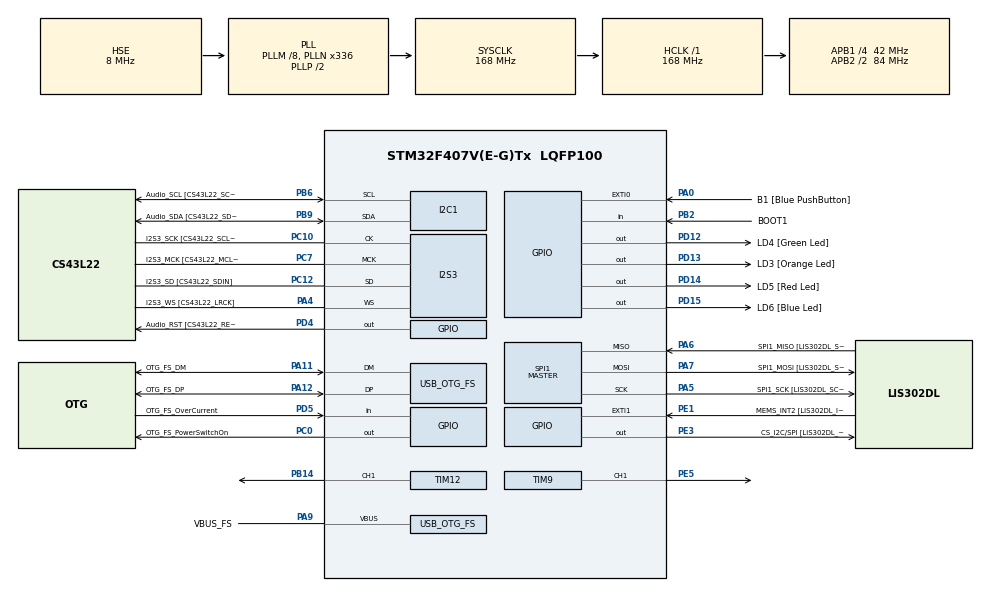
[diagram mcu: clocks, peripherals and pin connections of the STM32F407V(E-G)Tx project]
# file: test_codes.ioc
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I2S3.AudioFreq-Half_Duplex_Master=I2S_AUDIOFREQ_96K
I2S3.ErrorAudioFreq=-2.34 %
I2S3.ErrorAudioFreq-Half_Duplex_Master=0.8 %
I2S3.FullDuplexMode=I2S_FULLDUPLEXMODE_DISABLE
I2S3.Instance=SPI$Index
I2S3.RealAudioFreq=93.75 KHz
I2S3.RealAudioFreq-Half_Duplex_Master=96.774 KHz
I2S3.VirtualMode=I2S_MODE_MASTER
Mcu.Family=STM32F4
Mcu.Name=STM32F407V(E-G)Tx
Mcu.Package=LQFP100
NVIC.OTG_FS_IRQn=true\:0\:0\:false\:false\:true\:true\:true\:true
NVIC.PriorityGroup=NVIC_PRIORITYGROUP_0
PA0-WKUP.GPIO_Label=B1 [Blue PushButton]
PA0-WKUP.GPIO_ModeDefaultEXTI=GPIO_MODE_EVT_RISING
PA0-WKUP.GPIO_PuPd=GPIO_NOPULL
PA0-WKUP.Signal=GPXTI0
PA10.GPIO_Label=OTG_FS_ID
PA10.GPIO_Mode=GPIO_MODE_AF_PP
PA10.GPIO_PuPd=GPIO_NOPULL
PA10.GPIO_Speed=GPIO_SPEED_FREQ_LOW
PA10.Signal=USB_OTG_FS_ID
PA11.GPIO_Label=OTG_FS_DM
PA11.GPIO_Mode=GPIO_MODE_AF_PP
PA11.GPIO_PuPd=GPIO_NOPULL
PA11.GPIO_Speed=GPIO_SPEED_FREQ_LOW
PA11.Mode=Host_Only
PA11.Signal=USB_OTG_FS_DM
PA12.GPIO_Label=OTG_FS_DP
PA12.GPIO_Mode=GPIO_MODE_AF_PP
PA12.GPIO_PuPd=GPIO_NOPULL
PA12.GPIO_Speed=GPIO_SPEED_FREQ_LOW
PA12.Mode=Host_Only
PA12.Signal=USB_OTG_FS_DP
PA13.GPIO_Label=SWDIO
PA13.Mode=Serial_Wire
PA13.Signal=SYS_JTMS-SWDIO
PA14.GPIO_Label=SWCLK
PA14.Mode=Serial_Wire
PA14.Signal=SYS_JTCK-SWCLK
PA4.GPIO_Label=I2S3_WS [CS43L22_LRCK]
PA4.GPIO_Mode=GPIO_MODE_AF_PP
PA4.GPIO_PuPd=GPIO_NOPULL
PA4.GPIO_Speed=GPIO_SPEED_FREQ_LOW
PA4.Mode=Half_Duplex_Master
PA4.Signal=I2S3_WS
PA5.GPIO_Label=SPI1_SCK [LIS302DL_SCL/SPC]
PA5.GPIO_Mode=GPIO_MODE_AF_PP
PA5.GPIO_PuPd=GPIO_NOPULL
PA5.GPIO_Speed=GPIO_SPEED_FREQ_LOW
PA5.Mode=Full_Duplex_Master
PA5.Signal=SPI1_SCK
PA6.GPIO_Label=SPI1_MISO [LIS302DL_SDO]
PA6.GPIO_Mode=GPIO_MODE_AF_PP
PA6.GPIO_PuPd=GPIO_NOPULL
PA6.GPIO_Speed=GPIO_SPEED_FREQ_LOW
PA6.Mode=Full_Duplex_Master
PA6.Signal=SPI1_MISO
PA7.GPIO_Label=SPI1_MOSI [LIS302DL_SDA/SDI/SDO]
PA7.GPIO_Mode=GPIO_MODE_AF_PP
PA7.GPIO_PuPd=GPIO_NOPULL
PA7.GPIO_Speed=GPIO_SPEED_FREQ_LOW
PA7.Mode=Full_Duplex_Master
PA7.Signal=SPI1_MOSI
PA9.GPIO_Label=VBUS_FS
PA9.GPIO_Mode=GPIO_MODE_INPUT
PA9.GPIO_PuPd=GPIO_NOPULL
PA9.Mode=Activate_VBUS
PA9.Signal=USB_OTG_FS_VBUS
PB10.GPIO_Label=CLK_IN [MP45DT02_CLK]
PB10.GPIO_Mode=GPIO_MODE_AF_PP
PB10.GPIO_PuPd=GPIO_NOPULL
PB10.GPIO_Speed=GPIO_SPEED_FREQ_LOW
PB10.Signal=I2S2_CK
PB14.Signal=S_TIM12_CH1
PB2.GPIO_Label=BOOT1
PB2.GPIO_Mode=GPIO_MODE_INPUT
PB2.GPIO_PuPd=GPIO_NOPULL
PB2.Signal=GPIO_Input
PB3.GPIO_Label=SWO
PB3.Signal=SYS_JTDO-SWO
PB6.GPIO_Label=Audio_SCL [CS43L22_SCL]
PB6.GPIO_Mode=GPIO_MODE_AF_OD
PB6.GPIO_Pu=GPIO_PULLUP
PB6.GPIO_PuPd=GPIO_NOPULL
PB6.GPIO_Speed=GPIO_SPEED_FREQ_LOW
PB6.Mode=I2C
PB6.Signal=I2C1_SCL
PB9.GPIO_Label=Audio_SDA [CS43L22_SDA]
PB9.GPIO_Mode=GPIO_MODE_AF_OD
PB9.GPIO_Pu=GPIO_PULLUP
PB9.GPIO_PuPd=GPIO_NOPULL
PB9.GPIO_Speed=GPIO_SPEED_FREQ_LOW
PB9.Mode=I2C
PB9.Signal=I2C1_SDA
PC0.GPIO_Label=OTG_FS_PowerSwitchOn
PC0.GPIO_PuPd=GPIO_NOPULL
PC0.GPIO_Speed=GPIO_SPEED_FREQ_LOW
PC0.PinState=GPIO_PIN_SET
PC0.Signal=GPIO_Output
PC10.GPIO_Label=I2S3_SCK [CS43L22_SCLK]
PC10.GPIO_Mode=GPIO_MODE_AF_PP
PC10.GPIO_PuPd=GPIO_NOPULL
PC10.GPIO_Speed=GPIO_SPEED_FREQ_LOW
PC10.Mode=Half_Duplex_Master
PC10.Signal=I2S3_CK
PC12.GPIO_Label=I2S3_SD [CS43L22_SDIN]
PC12.GPIO_Mode=GPIO_MODE_AF_PP
PC12.GPIO_PuPd=GPIO_NOPULL
PC12.GPIO_Speed=GPIO_SPEED_FREQ_LOW
PC12.Mode=Half_Duplex_Master
PC12.Signal=I2S3_SD
PC14-OSC32_IN.GPIO_Label=PC14-OSC32_IN
PC14-OSC32_IN.Mode=LSE-External-Oscillator
PC14-OSC32_IN.Signal=RCC_OSC32_IN
PC15-OSC32_OUT.GPIO_Label=PC15-OSC32_OUT
PC15-OSC32_OUT.Mode=LSE-External-Oscillator
PC15-OSC32_OUT.Signal=RCC_OSC32_OUT
PC3.GPIO_Label=PDM_OUT [MP45DT02_DOUT]
PC3.GPIO_Mode=GPIO_MODE_AF_PP
PC3.GPIO_PuPd=GPIO_NOPULL
PC3.GPIO_Speed=GPIO_SPEED_FREQ_LOW
PC3.Signal=I2S2_SD
PC7.GPIO_Label=I2S3_MCK [CS43L22_MCLK]
PC7.GPIO_Mode=GPIO_MODE_AF_PP
PC7.GPIO_PuPd=GPIO_NOPULL
PC7.GPIO_Speed=GPIO_SPEED_FREQ_LOW
PC7.Mode=Master_Clock_Activated
PC7.Signal=I2S3_MCK
PD12.GPIO_Label=LD4 [Green Led]
PD12.GPIO_PuPd=GPIO_NOPULL
PD12.GPIO_Speed=GPIO_SPEED_FREQ_LOW
PD12.Signal=GPIO_Output
PD13.GPIO_Label=LD3 [Orange Led]
PD13.GPIO_PuPd=GPIO_NOPULL
PD13.GPIO_Speed=GPIO_SPEED_FREQ_LOW
PD13.Signal=GPIO_Output
PD14.GPIO_Label=LD5 [Red Led]
PD14.GPIO_PuPd=GPIO_NOPULL
PD14.GPIO_Speed=GPIO_SPEED_FREQ_LOW
PD14.Signal=GPIO_Output
PD15.GPIO_Label=LD6 [Blue Led]
PD15.GPIO_PuPd=GPIO_NOPULL
PD15.GPIO_Speed=GPIO_SPEED_FREQ_LOW
PD15.Signal=GPIO_Output
PD4.GPIO_Label=Audio_RST [CS43L22_RESET]
PD4.GPIO_PuPd=GPIO_NOPULL
PD4.GPIO_Speed=GPIO_SPEED_FREQ_LOW
PD4.Signal=GPIO_Output
PD5.GPIO_Label=OTG_FS_OverCurrent
PD5.GPIO_Mode=GPIO_MODE_INPUT
PD5.GPIO_PuPd=GPIO_NOPULL
PD5.Signal=GPIO_Input
PE1.GPIO_Label=MEMS_INT2 [LIS302DL_INT2]
PE1.GPIO_ModeDefaultEXTI=GPIO_MODE_EVT_RISING
PE1.GPIO_PuPd=GPIO_NOPULL
PE1.Signal=GPXTI1
PE3.GPIO_Label=CS_I2C/SPI [LIS302DL_CS_I2C/SPI]
PE3.GPIO_PuPd=GPIO_NOPULL
PE3.GPIO_Speed=GPIO_SPEED_FREQ_LOW
PE3.Signal=GPIO_Output
PE5.Signal=S_TIM9_CH1
PH0-OSC_IN.GPIO_Label=PH0-OSC_IN
PH0-OSC_IN.Mode=HSE-External-Oscillator
PH0-OSC_IN.Signal=RCC_OSC_IN
PH1-OSC_OUT.GPIO_Label=PH1-OSC_OUT
PH1-OSC_OUT.Mode=HSE-External-Oscillator
PH1-OSC_OUT.Signal=RCC_OSC_OUT
ProjectManager.HeapSize=0x200
ProjectManager.StackSize=0x400
ProjectManager.TargetToolchain=STM32CubeIDE
RCC.48MHZClocksFreq_Value=48000000
RCC.AHBFreq_Value=168000000
RCC.APB1CLKDivider=RCC_HCLK_DIV4
RCC.APB1Freq_Value=42000000
RCC.APB1TimFreq_Value=84000000
RCC.APB2CLKDivider=RCC_HCLK_DIV2
RCC.APB2Freq_Value=84000000
RCC.APB2TimFreq_Value=168000000
RCC.CortexFreq_Value=168000000
RCC.HCLKFreq_Value=168000000
RCC.HSE_VALUE=8000000
RCC.HSI_VALUE=16000000
RCC.PLLM=8
RCC.PLLN=336
RCC.PLLQ=7
RCC.SYSCLKFreq_VALUE=168000000
RCC.SYSCLKSource=RCC_SYSCLKSOURCE_PLLCLK
RCC.VCOOutputFreq_Value=336000000
SH.S_TIM12_CH1.0=TIM12_CH1,PWM Generation1 CH1
SH.S_TIM9_CH1.0=TIM9_CH1,PWM Generation1 CH1
SPI1.BaudRatePrescaler-Full_Duplex_Master=SPI_BAUDRATEPRESCALER_2
SPI1.CalculateBaudRate-Full_Duplex_Master=42.0 MBits/s
SPI1.Direction=SPI_DIRECTION_2LINES
SPI1.Mode=SPI_MODE_MASTER
SPI1.Mode-Full_Duplex_Master=SPI_MODE_MASTER
SPI1.VirtualType=VM_MASTER
TIM12.Channel-PWM\ Generation1\ CH1=TIM_CHANNEL_1
TIM12.Period=19999
TIM12.Prescaler=83
TIM9.Channel-PWM\ Generation1\ CH1=TIM_CHANNEL_1
TIM9.Period=19999
TIM9.Prescaler=83
TIM9.Pulse-PWM\ Generation1\ CH1=1500
USB_HOST.BSP.number=1
USB_HOST.USBH_HandleTypeDef-CDC_FS=hUsbHostFS
USB_HOST.VirtualModeFS=Cdc
USB_HOST0.BSP.STBoard=false
USB_HOST0.BSP.api=Unknown
USB_HOST0.BSP.instance=PC0
USB_HOST0.BSP.ip=GPIO
USB_HOST0.BSP.mode=Output
USB_HOST0.BSP.name=Drive_VBUS_FS
USB_HOST0.BSP.solution=PC0
USB_OTG_FS.VirtualMode=Host_Only
USB_OTG_FS.phy_itface=HCD_PHY_EMBEDDED
VP_USB_HOST_VS_USB_HOST_CDC_FS.Mode=CDC_FS
board=STM32F407G-DISC1

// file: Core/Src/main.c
/* USER CODE BEGIN Header */
/**
  ******************************************************************************
  * @file           : main.c
  * @brief          : Main program body
  ******************************************************************************
  * @attention
  *
  * Copyright (c) 2026 STMicroelectronics.
  * All rights reserved.
  *
  * This software is licensed under terms that can be found in the LICENSE file
  * in the root directory of this software component.
  * If no LICENSE file comes with this software, it is provided AS-IS.
  *
  ******************************************************************************
  */
/* USER CODE END Header */
#include "main.h"
#include "usb_host.h"

/* USER CODE BEGIN Includes */
#include "test.h"
/* USER CODE END Includes */

I2C_HandleTypeDef hi2c1;

I2S_HandleTypeDef hi2s3;

SPI_HandleTypeDef hspi1;

TIM_HandleTypeDef htim9;
TIM_HandleTypeDef htim12;

void SystemClock_Config(void);
static void MX_GPIO_Init(void);
static void MX_I2C1_Init(void);
static void MX_I2S3_Init(void);
static void MX_SPI1_Init(void);
static void MX_TIM9_Init(void);
static void MX_TIM12_Init(void);
void MX_USB_HOST_Process(void);

int main(void)
{

  /* MCU Configuration--------------------------------------------------------*/

  /* Reset of all peripherals, Initializes the Flash interface and the Systick. */
  HAL_Init();

  /* Configure the system clock */
  SystemClock_Config();

  /* Initialize all configured peripherals */
  MX_GPIO_Init();
  MX_I2C1_Init();
  MX_I2S3_Init();
  MX_SPI1_Init();
  MX_USB_HOST_Init();
  MX_TIM9_Init();
  MX_TIM12_Init();
  /* USER CODE BEGIN 2 */
  HAL_TIM_PWM_Start(&htim12, TIM_CHANNEL_1);
  /* USER CODE END 2 */

  /* Infinite loop */
  /* USER CODE BEGIN WHILE */
  Bldc_writePulse(&htim12, TIM_CHANNEL_1, 1500);
  HAL_Delay(3000);
  while (1)
  {
    /* USER CODE END WHILE */
    MX_USB_HOST_Process();

    /* USER CODE BEGIN 3 */
    for(int i = 1500; i <= 1700; i += 10)
    {
        Bldc_writePulse(&htim12, TIM_CHANNEL_1, i);
        HAL_Delay(20);
    }

    HAL_Delay(2000);  // run forward

    // -------- BACK TO NEUTRAL --------
    for(int i = 1700; i >= 1500; i -= 10)
    {
        Bldc_writePulse(&htim12, TIM_CHANNEL_1, i);
        HAL_Delay(20);
    }

    HAL_Delay(1000);

    // -------- REVERSE --------
    for(int i = 1500; i >= 1300; i -= 10)
    {
        Bldc_writePulse(&htim12, TIM_CHANNEL_1, i);
        HAL_Delay(20);
    }

    HAL_Delay(2000);  // run reverse

    // -------- BACK TO NEUTRAL --------
    for(int i = 1300; i <= 1500; i += 10)
    {
        Bldc_writePulse(&htim12, TIM_CHANNEL_1, i);
        HAL_Delay(20);
    }

    HAL_Delay(2000);
  }
  /* USER CODE END 3 */
}

void SystemClock_Config(void)
{
  RCC_OscInitTypeDef RCC_OscInitStruct = {0};
  RCC_ClkInitTypeDef RCC_ClkInitStruct = {0};

  /** Configure the main internal regulator output voltage
  */
  __HAL_RCC_PWR_CLK_ENABLE();
  __HAL_PWR_VOLTAGESCALING_CONFIG(PWR_REGULATOR_VOLTAGE_SCALE1);

  /** Initializes the RCC Oscillators according to the specified parameters
  * in the RCC_OscInitTypeDef structure.
  */
  RCC_OscInitStruct.OscillatorType = RCC_OSCILLATORTYPE_HSE;
  RCC_OscInitStruct.HSEState = RCC_HSE_ON;
  RCC_OscInitStruct.PLL.PLLState = RCC_PLL_ON;
  RCC_OscInitStruct.PLL.PLLSource = RCC_PLLSOURCE_HSE;
  RCC_OscInitStruct.PLL.PLLM = 8;
  RCC_OscInitStruct.PLL.PLLN = 336;
  RCC_OscInitStruct.PLL.PLLP = RCC_PLLP_DIV2;
  RCC_OscInitStruct.PLL.PLLQ = 7;
  if (HAL_RCC_OscConfig(&RCC_OscInitStruct) != HAL_OK)
  {
    Error_Handler();
  }

  /** Initializes the CPU, AHB and APB buses clocks
  */
  RCC_ClkInitStruct.ClockType = RCC_CLOCKTYPE_HCLK|RCC_CLOCKTYPE_SYSCLK
                              |RCC_CLOCKTYPE_PCLK1|RCC_CLOCKTYPE_PCLK2;
  RCC_ClkInitStruct.SYSCLKSource = RCC_SYSCLKSOURCE_PLLCLK;
  RCC_ClkInitStruct.AHBCLKDivider = RCC_SYSCLK_DIV1;
  RCC_ClkInitStruct.APB1CLKDivider = RCC_HCLK_DIV4;
  RCC_ClkInitStruct.APB2CLKDivider = RCC_HCLK_DIV2;

  if (HAL_RCC_ClockConfig(&RCC_ClkInitStruct, FLASH_LATENCY_5) != HAL_OK)
  {
    Error_Handler();
  }
}

static void MX_I2C1_Init(void)
{

  hi2c1.Instance = I2C1;
  hi2c1.Init.ClockSpeed = 100000;
  hi2c1.Init.DutyCycle = I2C_DUTYCYCLE_2;
  hi2c1.Init.OwnAddress1 = 0;
  hi2c1.Init.AddressingMode = I2C_ADDRESSINGMODE_7BIT;
  hi2c1.Init.DualAddressMode = I2C_DUALADDRESS_DISABLE;
  hi2c1.Init.OwnAddress2 = 0;
  hi2c1.Init.GeneralCallMode = I2C_GENERALCALL_DISABLE;
  hi2c1.Init.NoStretchMode = I2C_NOSTRETCH_DISABLE;
  if (HAL_I2C_Init(&hi2c1) != HAL_OK)
  {
    Error_Handler();
  }

}

static void MX_I2S3_Init(void)
{

  hi2s3.Instance = SPI3;
  hi2s3.Init.Mode = I2S_MODE_MASTER_TX;
  hi2s3.Init.Standard = I2S_STANDARD_PHILIPS;
  hi2s3.Init.DataFormat = I2S_DATAFORMAT_16B;
  hi2s3.Init.MCLKOutput = I2S_MCLKOUTPUT_ENABLE;
  hi2s3.Init.AudioFreq = I2S_AUDIOFREQ_96K;
  hi2s3.Init.CPOL = I2S_CPOL_LOW;
  hi2s3.Init.ClockSource = I2S_CLOCK_PLL;
  hi2s3.Init.FullDuplexMode = I2S_FULLDUPLEXMODE_DISABLE;
  if (HAL_I2S_Init(&hi2s3) != HAL_OK)
  {
    Error_Handler();
  }

}

static void MX_SPI1_Init(void)
{

  /* SPI1 parameter configuration*/
  hspi1.Instance = SPI1;
  hspi1.Init.Mode = SPI_MODE_MASTER;
  hspi1.Init.Direction = SPI_DIRECTION_2LINES;
  hspi1.Init.DataSize = SPI_DATASIZE_8BIT;
  hspi1.Init.CLKPolarity = SPI_POLARITY_LOW;
  hspi1.Init.CLKPhase = SPI_PHASE_1EDGE;
  hspi1.Init.NSS = SPI_NSS_SOFT;
  hspi1.Init.BaudRatePrescaler = SPI_BAUDRATEPRESCALER_2;
  hspi1.Init.FirstBit = SPI_FIRSTBIT_MSB;
  hspi1.Init.TIMode = SPI_TIMODE_DISABLE;
  hspi1.Init.CRCCalculation = SPI_CRCCALCULATION_DISABLE;
  hspi1.Init.CRCPolynomial = 10;
  if (HAL_SPI_Init(&hspi1) != HAL_OK)
  {
    Error_Handler();
  }

}

static void MX_TIM9_Init(void)
{

  TIM_OC_InitTypeDef sConfigOC = {0};

  htim9.Instance = TIM9;
  htim9.Init.Prescaler = 83;
  htim9.Init.CounterMode = TIM_COUNTERMODE_UP;
  htim9.Init.Period = 19999;
  htim9.Init.ClockDivision = TIM_CLOCKDIVISION_DIV1;
  htim9.Init.AutoReloadPreload = TIM_AUTORELOAD_PRELOAD_DISABLE;
  if (HAL_TIM_PWM_Init(&htim9) != HAL_OK)
  {
    Error_Handler();
  }
  sConfigOC.OCMode = TIM_OCMODE_PWM1;
  sConfigOC.Pulse = 1500;
  sConfigOC.OCPolarity = TIM_OCPOLARITY_HIGH;
  sConfigOC.OCFastMode = TIM_OCFAST_DISABLE;
  if (HAL_TIM_PWM_ConfigChannel(&htim9, &sConfigOC, TIM_CHANNEL_1) != HAL_OK)
  {
    Error_Handler();
  }
  HAL_TIM_MspPostInit(&htim9);

}

static void MX_TIM12_Init(void)
{

  TIM_OC_InitTypeDef sConfigOC = {0};

  htim12.Instance = TIM12;
  htim12.Init.Prescaler = 83;
  htim12.Init.CounterMode = TIM_COUNTERMODE_UP;
  htim12.Init.Period = 19999;
  htim12.Init.ClockDivision = TIM_CLOCKDIVISION_DIV1;
  htim12.Init.AutoReloadPreload = TIM_AUTORELOAD_PRELOAD_DISABLE;
  if (HAL_TIM_PWM_Init(&htim12) != HAL_OK)
  {
    Error_Handler();
  }
  sConfigOC.OCMode = TIM_OCMODE_PWM1;
  sConfigOC.Pulse = 0;
  sConfigOC.OCPolarity = TIM_OCPOLARITY_HIGH;
  sConfigOC.OCFastMode = TIM_OCFAST_DISABLE;
  if (HAL_TIM_PWM_ConfigChannel(&htim12, &sConfigOC, TIM_CHANNEL_1) != HAL_OK)
  {
    Error_Handler();
  }
  HAL_TIM_MspPostInit(&htim12);

}

static void MX_GPIO_Init(void)
{
  GPIO_InitTypeDef GPIO_InitStruct = {0};

  /* GPIO Ports Clock Enable */
  __HAL_RCC_GPIOE_CLK_ENABLE();
  __HAL_RCC_GPIOC_CLK_ENABLE();
  __HAL_RCC_GPIOH_CLK_ENABLE();
  __HAL_RCC_GPIOA_CLK_ENABLE();
  __HAL_RCC_GPIOB_CLK_ENABLE();
  __HAL_RCC_GPIOD_CLK_ENABLE();

  /*Configure GPIO pin Output Level */
  HAL_GPIO_WritePin(CS_I2C_SPI_GPIO_Port, CS_I2C_SPI_Pin, GPIO_PIN_RESET);

  /*Configure GPIO pin Output Level */
  HAL_GPIO_WritePin(OTG_FS_PowerSwitchOn_GPIO_Port, OTG_FS_PowerSwitchOn_Pin, GPIO_PIN_SET);

  /*Configure GPIO pin Output Level */
  HAL_GPIO_WritePin(GPIOD, LD4_Pin|LD3_Pin|LD5_Pin|LD6_Pin
                          |Audio_RST_Pin, GPIO_PIN_RESET);

  /*Configure GPIO pin : CS_I2C_SPI_Pin */
  GPIO_InitStruct.Pin = CS_I2C_SPI_Pin;
  GPIO_InitStruct.Mode = GPIO_MODE_OUTPUT_PP;
  GPIO_InitStruct.Pull = GPIO_NOPULL;
  GPIO_InitStruct.Speed = GPIO_SPEED_FREQ_LOW;
  HAL_GPIO_Init(CS_I2C_SPI_GPIO_Port, &GPIO_InitStruct);

  /*Configure GPIO pin : OTG_FS_PowerSwitchOn_Pin */
  GPIO_InitStruct.Pin = OTG_FS_PowerSwitchOn_Pin;
  GPIO_InitStruct.Mode = GPIO_MODE_OUTPUT_PP;
  GPIO_InitStruct.Pull = GPIO_NOPULL;
  GPIO_InitStruct.Speed = GPIO_SPEED_FREQ_LOW;
  HAL_GPIO_Init(OTG_FS_PowerSwitchOn_GPIO_Port, &GPIO_InitStruct);

  /*Configure GPIO pin : PDM_OUT_Pin */
  GPIO_InitStruct.Pin = PDM_OUT_Pin;
  GPIO_InitStruct.Mode = GPIO_MODE_AF_PP;
  GPIO_InitStruct.Pull = GPIO_NOPULL;
  GPIO_InitStruct.Speed = GPIO_SPEED_FREQ_LOW;
  GPIO_InitStruct.Alternate = GPIO_AF5_SPI2;
  HAL_GPIO_Init(PDM_OUT_GPIO_Port, &GPIO_InitStruct);

  /*Configure GPIO pin : B1_Pin */
  GPIO_InitStruct.Pin = B1_Pin;
  GPIO_InitStruct.Mode = GPIO_MODE_EVT_RISING;
  GPIO_InitStruct.Pull = GPIO_NOPULL;
  HAL_GPIO_Init(B1_GPIO_Port, &GPIO_InitStruct);

  /*Configure GPIO pin : BOOT1_Pin */
  GPIO_InitStruct.Pin = BOOT1_Pin;
  GPIO_InitStruct.Mode = GPIO_MODE_INPUT;
  GPIO_InitStruct.Pull = GPIO_NOPULL;
  HAL_GPIO_Init(BOOT1_GPIO_Port, &GPIO_InitStruct);

  /*Configure GPIO pin : CLK_IN_Pin */
  GPIO_InitStruct.Pin = CLK_IN_Pin;
  GPIO_InitStruct.Mode = GPIO_MODE_AF_PP;
  GPIO_InitStruct.Pull = GPIO_NOPULL;
  GPIO_InitStruct.Speed = GPIO_SPEED_FREQ_LOW;
  GPIO_InitStruct.Alternate = GPIO_AF5_SPI2;
  HAL_GPIO_Init(CLK_IN_GPIO_Port, &GPIO_InitStruct);

  /*Configure GPIO pins : LD4_Pin LD3_Pin LD5_Pin LD6_Pin
                           Audio_RST_Pin */
  GPIO_InitStruct.Pin = LD4_Pin|LD3_Pin|LD5_Pin|LD6_Pin
                          |Audio_RST_Pin;
  GPIO_InitStruct.Mode = GPIO_MODE_OUTPUT_PP;
  GPIO_InitStruct.Pull = GPIO_NOPULL;
  GPIO_InitStruct.Speed = GPIO_SPEED_FREQ_LOW;
  HAL_GPIO_Init(GPIOD, &GPIO_InitStruct);

  /*Configure GPIO pin : OTG_FS_OverCurrent_Pin */
  GPIO_InitStruct.Pin = OTG_FS_OverCurrent_Pin;
  GPIO_InitStruct.Mode = GPIO_MODE_INPUT;
  GPIO_InitStruct.Pull = GPIO_NOPULL;
  HAL_GPIO_Init(OTG_FS_OverCurrent_GPIO_Port, &GPIO_InitStruct);

  /*Configure GPIO pin : MEMS_INT2_Pin */
  GPIO_InitStruct.Pin = MEMS_INT2_Pin;
  GPIO_InitStruct.Mode = GPIO_MODE_EVT_RISING;
  GPIO_InitStruct.Pull = GPIO_NOPULL;
  HAL_GPIO_Init(MEMS_INT2_GPIO_Port, &GPIO_InitStruct);

}

void Error_Handler(void)
{
  __disable_irq();
  while (1)
  {
  }
}
